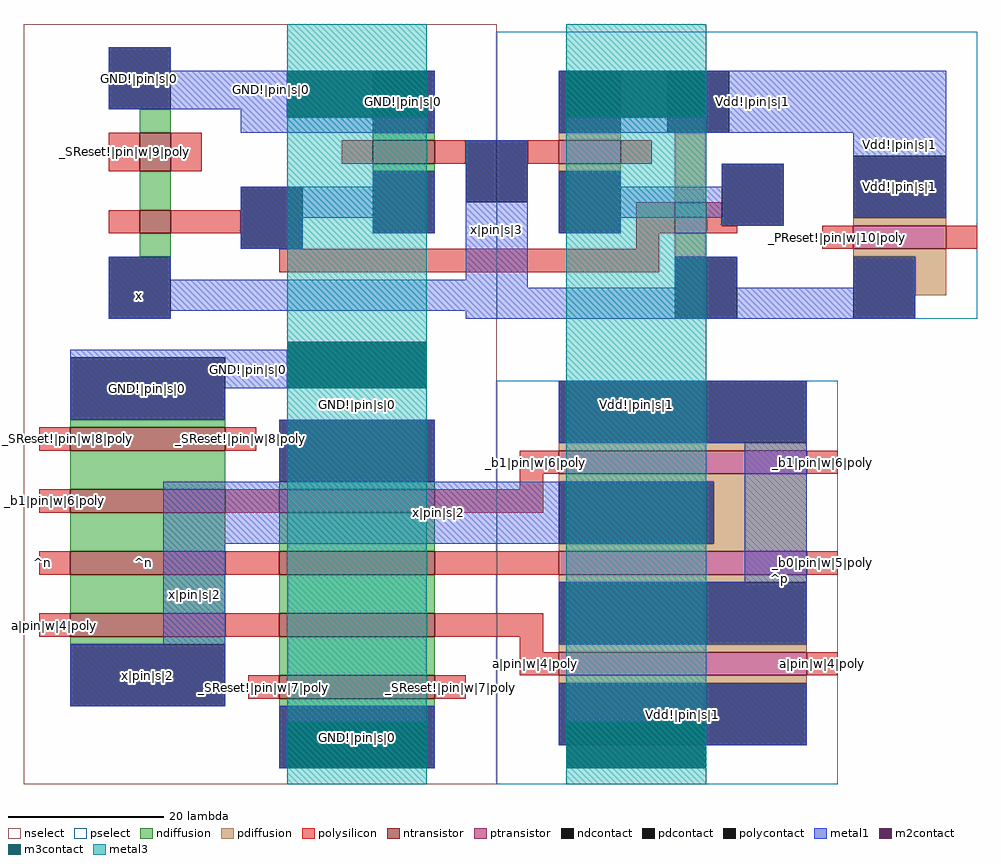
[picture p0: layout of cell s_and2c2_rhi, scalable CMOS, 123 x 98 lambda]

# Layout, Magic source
magic
tech scmos
<< nselect >>
rect -61 505 0 603
<< pselect >>
rect 0 565 62 602
rect 0 505 44 557
<< ndiffusion >>
rect -46 589 -42 592
rect -16 588 -8 589
rect -16 584 -8 585
rect -46 579 -42 584
rect -46 573 -42 576
rect -55 551 -35 552
rect -55 543 -35 548
rect -28 543 -8 544
rect -55 535 -35 540
rect -28 535 -8 540
rect -55 527 -35 532
rect -28 527 -8 532
rect -55 523 -35 524
rect -28 519 -8 524
rect -28 515 -8 516
<< pdiffusion >>
rect 8 588 16 589
rect 8 584 16 585
rect 23 580 27 589
rect 46 577 58 578
rect 23 573 27 576
rect 46 573 58 574
rect 54 568 58 573
rect 8 548 40 549
rect 8 544 40 545
rect 28 536 40 544
rect 8 535 40 536
rect 8 531 40 532
rect 8 522 40 523
rect 8 518 40 519
<< ntransistor >>
rect -46 584 -42 589
rect -16 585 -8 588
rect -46 576 -42 579
rect -55 548 -35 551
rect -55 540 -35 543
rect -28 540 -8 543
rect -55 532 -35 535
rect -28 532 -8 535
rect -55 524 -35 527
rect -28 524 -8 527
rect -28 516 -8 519
<< ptransistor >>
rect 8 585 16 588
rect 23 576 27 580
rect 46 574 58 577
rect 8 545 40 548
rect 8 532 40 535
rect 8 519 40 522
<< polysilicon >>
rect -50 584 -46 589
rect -42 584 -38 589
rect -20 585 -16 588
rect -8 585 -4 588
rect -50 576 -46 579
rect -42 576 -33 579
rect 4 585 8 588
rect 16 585 20 588
rect 18 576 23 580
rect 27 577 29 580
rect 27 576 31 577
rect 18 574 21 576
rect -28 571 21 574
rect 42 574 46 577
rect 58 574 62 577
rect -59 548 -55 551
rect -35 548 -31 551
rect 3 545 8 548
rect 40 545 44 548
rect 3 543 6 545
rect -59 540 -55 543
rect -35 540 -28 543
rect -8 540 6 543
rect -59 532 -55 535
rect -35 532 -28 535
rect -8 532 8 535
rect 40 532 44 535
rect -59 524 -55 527
rect -35 524 -28 527
rect -8 524 6 527
rect 3 522 6 524
rect 3 519 8 522
rect 40 519 44 522
rect -32 516 -28 519
rect -8 516 -4 519
<< ndcontact >>
rect -50 592 -42 600
rect -16 589 -8 597
rect -16 576 -8 584
rect -50 565 -42 573
rect -55 552 -35 560
rect -28 544 -8 552
rect -55 515 -35 523
rect -28 507 -8 515
<< pdcontact >>
rect 8 589 16 597
rect 22 589 30 597
rect 8 576 16 584
rect 46 578 58 586
rect 23 565 31 573
rect 46 565 54 573
rect 8 549 40 557
rect 8 536 28 544
rect 8 523 40 531
rect 8 510 40 518
<< polycontact >>
rect -33 574 -25 582
rect -4 580 4 588
rect 29 577 37 585
<< metal1 >>
rect -50 597 -42 600
rect -50 592 -27 597
rect -33 591 -27 592
rect -9 591 -8 597
rect -33 589 -8 591
rect 8 591 9 597
rect 27 591 58 597
rect 8 589 58 591
rect -16 582 -8 584
rect -33 578 -8 582
rect -33 574 -25 578
rect -16 576 -8 578
rect -50 570 -42 573
rect -4 570 4 588
rect 8 582 16 584
rect 29 582 37 585
rect 8 578 37 582
rect 46 578 58 589
rect 8 576 16 578
rect 29 577 37 578
rect -50 569 4 570
rect 23 569 31 573
rect 46 569 54 573
rect -50 566 54 569
rect -50 565 -42 566
rect -4 565 54 566
rect -55 556 -27 561
rect -55 552 -35 556
rect -28 544 -8 552
rect 8 549 40 557
rect -43 536 28 544
rect -43 523 -35 536
rect 32 531 40 549
rect 8 523 40 531
rect -55 515 -35 523
rect -28 513 -8 515
rect -28 507 -27 513
rect -9 507 -8 513
rect 8 513 40 518
rect 8 510 9 513
rect 27 510 40 513
<< m2contact >>
rect -27 591 -9 597
rect 9 591 27 597
rect -27 556 -9 562
rect -27 507 -9 513
rect 9 507 27 513
<< m3contact >>
rect -27 591 -9 597
rect 9 591 27 597
rect -27 556 -9 562
rect -27 507 -9 513
rect 9 507 27 513
<< metal3 >>
rect -27 505 -9 603
rect 9 505 27 603
<< labels >>
rlabel metal1 -46 568 -46 568 3 x
rlabel space -63 505 -28 562 7 ^n
rlabel space -62 505 -55 562 7 ^n
rlabel space 28 505 45 558 3 ^p
rlabel metal3 -27 505 -9 603 1 GND!|pin|s|0
rlabel metal3 9 505 27 603 1 Vdd!|pin|s|1
rlabel metal1 -50 592 -42 600 1 GND!|pin|s|0
rlabel metal1 -50 592 -8 597 1 GND!|pin|s|0
rlabel metal1 -16 589 -8 597 1 GND!|pin|s|0
rlabel metal1 -55 552 -35 560 1 GND!|pin|s|0
rlabel metal1 -55 556 -9 561 1 GND!|pin|s|0
rlabel metal1 -28 507 -8 515 1 GND!|pin|s|0
rlabel metal1 8 510 40 518 1 Vdd!|pin|s|1
rlabel metal1 8 589 58 597 1 Vdd!|pin|s|1
rlabel metal1 -43 536 28 544 1 x|pin|s|2
rlabel metal1 -55 515 -35 523 1 x|pin|s|2
rlabel metal1 -43 515 -35 544 1 x|pin|s|2
rlabel metal1 -4 565 4 588 1 x|pin|s|3
rlabel polysilicon 3 519 7 522 1 a|pin|w|4|poly
rlabel polysilicon 40 519 44 522 1 a|pin|w|4|poly
rlabel polysilicon -59 524 -55 527 1 a|pin|w|4|poly
rlabel polysilicon -59 532 -55 535 1 _b0|pin|w|5|poly
rlabel polysilicon 40 532 44 535 1 _b0|pin|w|5|poly
rlabel polysilicon 40 545 44 548 1 _b1|pin|w|6|poly
rlabel polysilicon 3 545 7 548 1 _b1|pin|w|6|poly
rlabel polysilicon -59 540 -55 543 1 _b1|pin|w|6|poly
rlabel polysilicon -32 516 -28 519 1 _SReset!|pin|w|7|poly
rlabel polysilicon -8 516 -4 519 1 _SReset!|pin|w|7|poly
rlabel polysilicon -59 548 -55 551 1 _SReset!|pin|w|8|poly
rlabel polysilicon -35 548 -31 551 1 _SReset!|pin|w|8|poly
rlabel polysilicon -50 584 -46 589 1 _SReset!|pin|w|9|poly
rlabel polysilicon -42 584 -38 589 1 _SReset!|pin|w|9|poly
rlabel polysilicon 42 574 46 577 1 _PReset!|pin|w|10|poly
rlabel polysilicon 58 574 62 577 1 _PReset!|pin|w|10|poly
rlabel metal1 46 578 58 597 1 Vdd!|pin|s|1
rlabel metal1 46 578 58 586 1 Vdd!|pin|s|1
<< end >>
